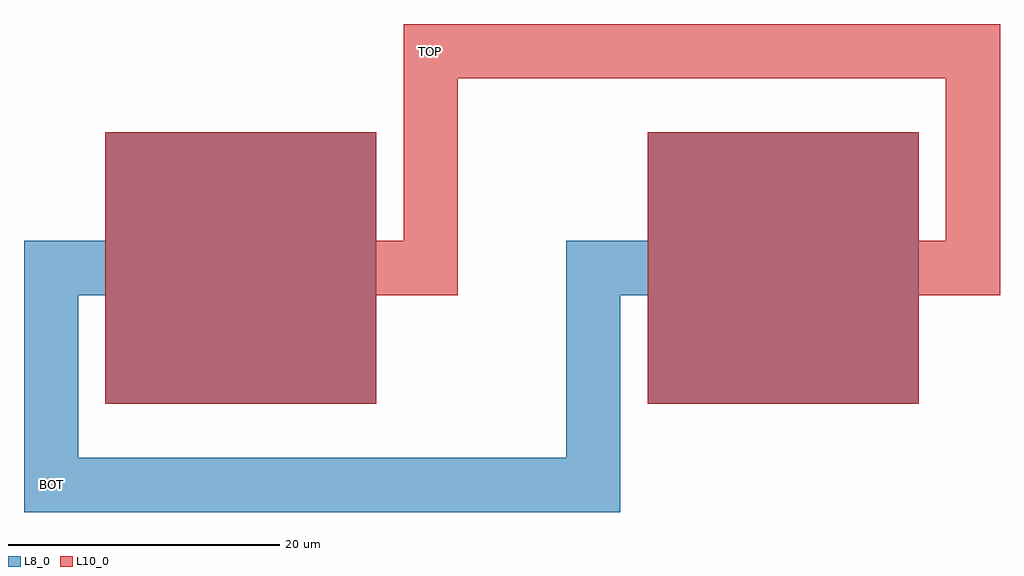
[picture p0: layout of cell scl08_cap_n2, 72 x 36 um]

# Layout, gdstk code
import gdstk
lib = gdstk.Library(unit=1e-6, precision=1e-09)
def R(c, l, rs):  # rectangles x0, y0, x1, y1
    for r in rs: c.add(gdstk.rectangle(r[:2], r[2:], *l))
L8_0 = (8, 0)
L10_0 = (10, 0)

scl08_cap_n2 = lib.new_cell('scl08_cap_n2')
R(scl08_cap_n2, L8_0, [(-6,-8,-2,12), (-6,-8,38,-4), (34,-8,38,12), (0,0,20,20), (40,0,60,20), (-6,8,0,12), (34,8,40,12)])
R(scl08_cap_n2, L10_0, [(0,0,20,20), (40,0,60,20), (20,8,26,12), (22,8,26,28), (60,8,66,12), (62,8,66,28), (22,24,66,28)])
scl08_cap_n2.add(gdstk.Label('BOT', (-4,-6), layer=8, texttype=7))
scl08_cap_n2.add(gdstk.Label('TOP', (24,26), layer=10, texttype=7))

lib.write_gds('scl08_cap_n2.gds')
